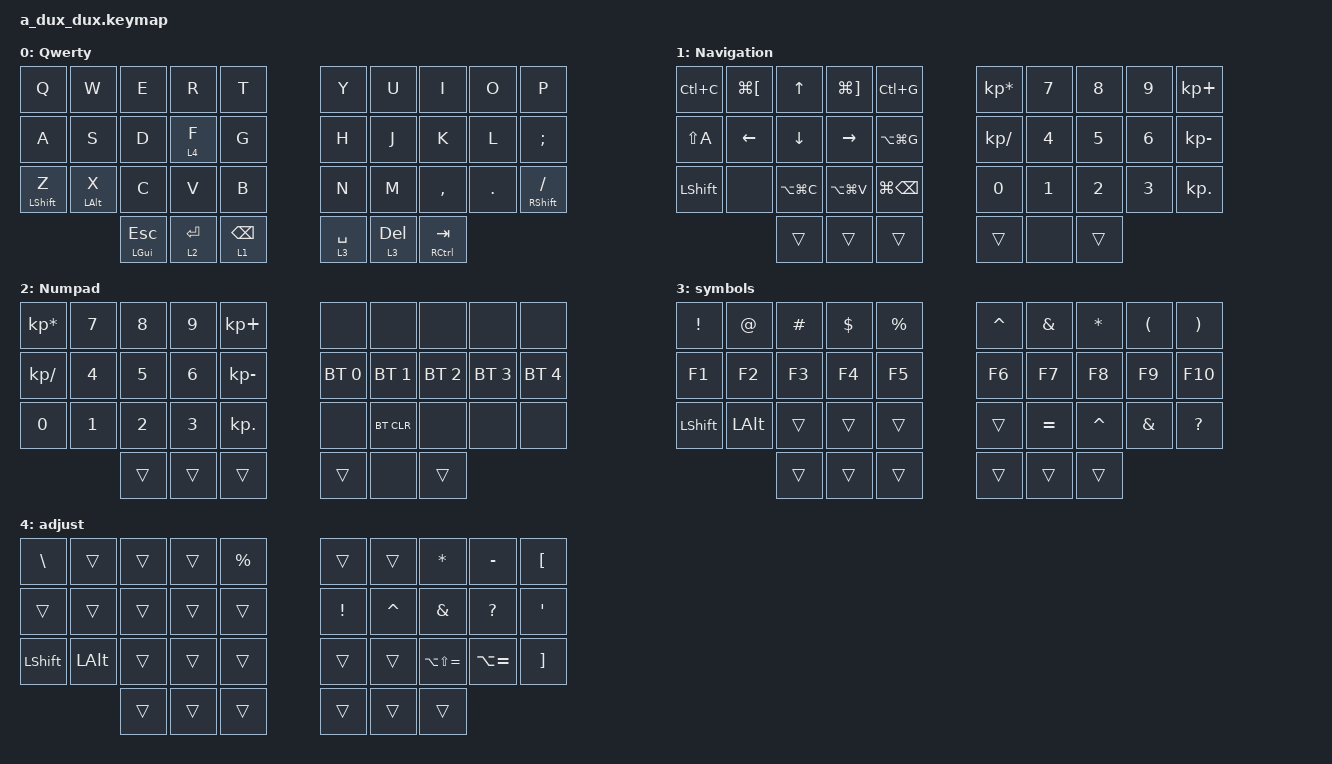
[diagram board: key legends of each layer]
/*
 * Copyright (c) 2020 The ZMK Contributors
 *
 * SPDX-License-Identifier: MIT
 */

#include <behaviors.dtsi>
#include <dt-bindings/zmk/keys.h>
#include <dt-bindings/zmk/bt.h>

#define BASE 0
#define NAV  1
#define NUM  2
#define SYM  3
#define ADJ  4

&mt {
    quick_tap_ms = <180>;
};

&lt {
    quick_tap_ms = <180>;
};

/ {
    combos {
        compatible = "zmk,combos";

        lang {
            bindings = <&kp LG(SPACE)>;
            key-positions = <30 31>;
        };

        spotlight {
            bindings = <&kp LC(SPACE)>;
            key-positions = <31 32>;
        };
    };
};

/ {

    behaviors {
        hm: homerow_mods {
            compatible = "zmk,behavior-hold-tap";
            label = "HOMEROW_MODS";
            #binding-cells = <2>;
            tapping-term-ms = <200>;
            quick_tap_ms = <0>;
            flavor = "balanced";
            bindings = <&kp>, <&kp>;
        };
        hs: homerow_shift {
            compatible = "zmk,behavior-hold-tap";
            label = "HOMEROW_SHIFT";
            #binding-cells = <2>;
            tapping-term-ms = <175>;
            quick_tap_ms = <0>;
            flavor = "balanced";
            bindings = <&kp>, <&kp>;
        };
    };

    keymap {
        compatible = "zmk,keymap";

        default {
            label = "Qwerty";
            bindings = <
       &kp Q       &kp W         &kp E        &kp R        &kp T            &kp Y      &kp U          &kp I    &kp O           &kp P
       &kp A       &kp S         &kp D      &lt 4 F        &kp G            &kp H      &kp J          &kp K    &kp L        &kp SEMI
 &hs LSHFT Z  &hm LALT X         &kp C        &kp V        &kp B            &kp N      &kp M      &kp COMMA  &kp DOT  &hs RSHFT FSLH
                          &mt LGUI ESC  &lt 2 ENTER  &lt 1 BACKSPACE  &lt 3 SPACE  &lt 3 DEL  &mt RCTRL TAB
            >;
        };

        numbers {
            label = "Navigation";
            bindings = <
 &kp LC(C)  &kp LG(LBKT)         &kp UP   &kp LG(RBKT)      &kp LC(G)  &kp KP_MULTIPLY  &kp N7  &kp N8  &kp N9   &kp KP_PLUS
 &kp LS(A)      &kp LEFT       &kp DOWN      &kp RIGHT  &kp LA(LG(G))    &kp KP_DIVIDE  &kp N4  &kp N5  &kp N6  &kp KP_MINUS
 &kp LSHFT         &none  &kp LA(LG(C))  &kp LA(LG(V))   &kp LG(BSPC)           &kp N0  &kp N1  &kp N2  &kp N3    &kp KP_DOT
                                 &trans         &trans         &trans           &trans   &none  &trans
            >;
        };

        numpad {
            label = "Numpad";
            bindings = <
 &kp KP_MULTIPLY  &kp N7  &kp N8  &kp N9   &kp KP_PLUS         &none         &none         &none         &none         &none
   &kp KP_DIVIDE  &kp N4  &kp N5  &kp N6  &kp KP_MINUS  &bt BT_SEL 0  &bt BT_SEL 1  &bt BT_SEL 2  &bt BT_SEL 3  &bt BT_SEL 4
          &kp N0  &kp N1  &kp N2  &kp N3    &kp KP_DOT         &none    &bt BT_CLR         &none         &none         &none
                          &trans  &trans        &trans        &trans         &none        &trans
            >;
        };

        symbols {
            bindings = <
  &kp EXCL        &kp AT  &kp HASH  &kp DLLR  &kp PRCNT  &kp CARET   &kp AMPS   &kp STAR  &kp LPAR   &kp RPAR
    &kp F1        &kp F2    &kp F3    &kp F4     &kp F5     &kp F6     &kp F7     &kp F8    &kp F9    &kp F10
 &kp LSHFT  &kp LEFT_ALT    &trans    &trans     &trans     &trans  &kp EQUAL  &kp CARET  &kp AMPS  &kp QMARK
                            &trans    &trans     &trans     &trans     &trans     &trans
            >;
        };

        adjust {
            bindings = <
  &kp BSLH    &trans  &trans  &trans  &kp PERCENT    &trans     &trans           &kp STAR      &kp MINUS  &kp LBKT
    &trans    &trans  &trans  &trans       &trans  &kp EXCL  &kp CARET           &kp AMPS      &kp QMARK   &kp SQT
 &kp LSHFT  &kp LALT  &trans  &trans       &trans    &trans     &trans  &kp LA(LS(EQUAL))  &kp LA(EQUAL)  &kp RBKT
                      &trans  &trans       &trans    &trans     &trans             &trans
            >;
        };
    };
};
